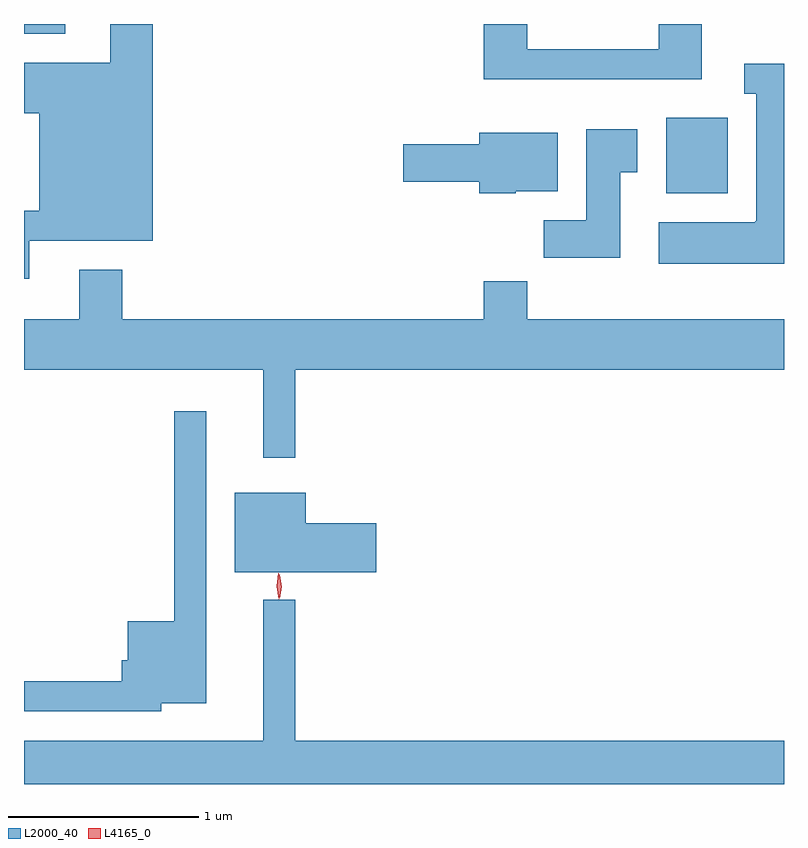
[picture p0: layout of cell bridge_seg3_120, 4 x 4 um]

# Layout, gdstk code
import gdstk
lib = gdstk.Library(unit=1e-6, precision=1e-09)
def R(c, l, rs):  # rectangles x0, y0, x1, y1
    for r in rs: c.add(gdstk.rectangle(r[:2], r[2:], *l))
def P(c, l, *ps):  # polygons
    for p in ps: c.add(gdstk.Polygon(p, *l))
L2000_40 = (2000, 40)
L4165_0 = (4165, 0)

bridge_seg3_120 = lib.new_cell('bridge_seg3_120')
R(bridge_seg3_120, L2000_40, [(1079.491,1197.986,1079.814,1198.384), (1076.111,1198.826,1076.329,1198.877)])
P(bridge_seg3_120, L2000_40, [(1079.679,1198.877),(1079.451,1198.877),(1079.451,1198.744),(1078.759,1198.744),(1078.759,1198.877),(1078.531,1198.877),(1078.531,1198.586),(1079.679,1198.586)],
  [(1076.139,1197.736),(1076.789,1197.736),(1076.789,1198.877),(1076.566,1198.877),(1076.566,1198.674),(1076.111,1198.674),(1076.111,1198.406),(1076.191,1198.406),(1076.191,1197.894),(1076.111,1197.894),(1076.111,1197.536),(1076.139,1197.536)],
  [(1080.111,1198.669),(1079.903,1198.669),(1079.903,1198.511),(1079.966,1198.511),(1079.966,1197.84),(1079.96,1197.84),(1079.96,1197.834),(1079.451,1197.834),(1079.451,1197.616),(1080.111,1197.616)],
  [(1079.249,1198.096),(1079.339,1198.096),(1079.339,1198.324),(1079.071,1198.324),(1079.071,1197.844),(1078.846,1197.844),(1078.846,1197.646),(1079.249,1197.646)],
  [(1078.7,1197.996),(1078.919,1197.996),(1078.919,1198.304),(1078.506,1198.304),(1078.506,1198.244),(1078.106,1198.244),(1078.106,1198.046),(1078.506,1198.046),(1078.506,1197.986),(1078.7,1197.986)],
  [(1077.539,1197.056),(1080.111,1197.056),(1080.111,1197.324),(1078.759,1197.324),(1078.759,1197.524),(1078.531,1197.524),(1078.531,1197.324),(1076.629,1197.324),(1076.629,1197.584),(1076.401,1197.584),(1076.401,1197.324),(1076.111,1197.324),(1076.111,1197.056),(1077.371,1197.056),(1077.371,1196.593),(1077.539,1196.593)],
  [(1076.834,1195.301),(1077.069,1195.301),(1077.069,1196.838),(1076.901,1196.838),(1076.901,1195.734),(1076.656,1195.734),(1076.656,1195.529),(1076.626,1195.529),(1076.626,1195.419),(1076.111,1195.419),(1076.111,1195.261),(1076.834,1195.261)],
  [(1077.964,1196.249),(1077.594,1196.249),(1077.594,1196.409),(1077.221,1196.409),(1077.221,1195.991),(1077.964,1195.991)],
  [(1080.111,1195.104),(1077.539,1195.104),(1077.539,1195.848),(1077.371,1195.848),(1077.371,1195.104),(1076.111,1195.104),(1076.111,1194.877),(1080.111,1194.877)])
P(bridge_seg3_120, L4165_0, [(1077.451,1195.85),(1077.441,1195.918),(1077.45,1195.985),(1077.45,1195.986),(1077.451,1195.985),(1077.461,1195.918),(1077.452,1195.85),(1077.452,1195.85)],
  [(1077.457,1195.853),(1077.457,1195.853),(1077.447,1195.916),(1077.457,1195.979),(1077.457,1195.98),(1077.458,1195.979),(1077.467,1195.916),(1077.458,1195.853)])

lib.write_gds('bridge_seg3_120.gds')
